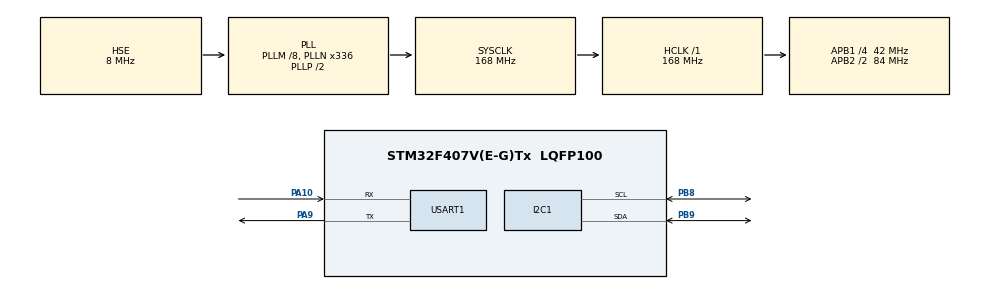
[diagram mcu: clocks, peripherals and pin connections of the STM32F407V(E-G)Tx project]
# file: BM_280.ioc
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Mcu.Family=STM32F4
Mcu.Name=STM32F407V(E-G)Tx
Mcu.Package=LQFP100
NVIC.PriorityGroup=NVIC_PRIORITYGROUP_0
PA10.Mode=Asynchronous
PA10.Signal=USART1_RX
PA9.Mode=Asynchronous
PA9.Signal=USART1_TX
PB8.Mode=I2C
PB8.Signal=I2C1_SCL
PB9.Mode=I2C
PB9.Signal=I2C1_SDA
PH0-OSC_IN.Mode=HSE-External-Oscillator
PH0-OSC_IN.Signal=RCC_OSC_IN
PH1-OSC_OUT.Mode=HSE-External-Oscillator
PH1-OSC_OUT.Signal=RCC_OSC_OUT
ProjectManager.HeapSize=0x200
ProjectManager.StackSize=0x400
ProjectManager.TargetToolchain=EWARM V8.32
RCC.48MHZClocksFreq_Value=48000000
RCC.AHBFreq_Value=168000000
RCC.APB1CLKDivider=RCC_HCLK_DIV4
RCC.APB1Freq_Value=42000000
RCC.APB1TimFreq_Value=84000000
RCC.APB2CLKDivider=RCC_HCLK_DIV2
RCC.APB2Freq_Value=84000000
RCC.APB2TimFreq_Value=168000000
RCC.CortexFreq_Value=168000000
RCC.HCLKFreq_Value=168000000
RCC.HSE_VALUE=8000000
RCC.HSI_VALUE=16000000
RCC.LSE_VALUE=32768
RCC.PLLM=8
RCC.PLLN=336
RCC.PLLQ=7
RCC.PLLSourceVirtual=RCC_PLLSOURCE_HSE
RCC.SYSCLKFreq_VALUE=168000000
RCC.SYSCLKSource=RCC_SYSCLKSOURCE_PLLCLK
RCC.VCOOutputFreq_Value=336000000
USART1.VirtualMode=VM_ASYNC
board=STM32F407G-DISC1

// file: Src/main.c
/* USER CODE BEGIN Header */
/**
  ******************************************************************************
  * @file           : main.c
  * @brief          : Main program body
  ******************************************************************************
  * @attention
  *
  * <h2><center>&copy; Copyright (c) 2020 STMicroelectronics.
  * All rights reserved.</center></h2>
  *
  * This software component is licensed by ST under BSD 3-Clause license,
  * the "License"; You may not use this file except in compliance with the
  * License. You may obtain a copy of the License at:
  *                        opensource.org/licenses/BSD-3-Clause
  *
  ******************************************************************************
  */
/* USER CODE END Header */

#include "main.h"

I2C_HandleTypeDef hi2c1;

UART_HandleTypeDef huart1;

/* USER CODE BEGIN PV */
uint8_t id,stare,val[6],adr_start=0xF7;
float temp;
/* USER CODE END PV */

void SystemClock_Config(void);
static void MX_GPIO_Init(void);
static void MX_I2C1_Init(void);
static void MX_USART1_UART_Init(void);
/* USER CODE BEGIN PFP */

uint8_t I2C_Read_Register(uint8_t device_adr,uint8_t internal_adr)
{
  uint8_t r;
  HAL_I2C_Master_Transmit(&hi2c1, device_adr,&internal_adr ,1, 10000);
  HAL_I2C_Master_Receive(&hi2c1, device_adr+1, &r, 1,10000);
  return r;
}
void I2C_Write_Register(uint8_t device_adr,uint8_t internal_adr, uint8_t data)
{
  uint8_t tx_buff[2]={internal_adr,data};
  HAL_I2C_Master_Transmit(&hi2c1, device_adr, tx_buff,2, 10000);
}

/* USER CODE END PFP */

int main(void)
{

  /* MCU Configuration--------------------------------------------------------*/

  /* Reset of all peripherals, Initializes the Flash interface and the Systick. */
  HAL_Init();

  /* Configure the system clock */
  SystemClock_Config();

  /* Initialize all configured peripherals */
  MX_GPIO_Init();
  MX_I2C1_Init();
  MX_USART1_UART_Init();
  /* USER CODE BEGIN 2 */
I2C_Write_Register(0xEE,0xF4,0x27);
I2C_Write_Register(0xEE,0xF5,0x90);
HAL_Delay(1000);
id=I2C_Read_Register(0xEE,0xD0);
  /* USER CODE END 2 */

  /* Infinite loop */
  /* USER CODE BEGIN WHILE */
  while (1)
  {
    do
    {
    stare=I2C_Read_Register(0xEE,0xF3);
    }while(((stare&8)==8)||((stare&1)==1));
    HAL_I2C_Master_Transmit(&hi2c1, 0xFF,&adr_start,1, 10000);
    HAL_I2C_Master_Receive(&hi2c1, 0xEE+1, &val[0],6,10000);
    temp=(256*val[3]+val[4])/273.0-42;
    HAL_Delay(500);
    /* USER CODE END WHILE */

  }
}

void SystemClock_Config(void)
{
  RCC_OscInitTypeDef RCC_OscInitStruct = {0};
  RCC_ClkInitTypeDef RCC_ClkInitStruct = {0};

  /** Configure the main internal regulator output voltage
  */
  __HAL_RCC_PWR_CLK_ENABLE();
  __HAL_PWR_VOLTAGESCALING_CONFIG(PWR_REGULATOR_VOLTAGE_SCALE1);
  /** Initializes the CPU, AHB and APB busses clocks
  */
  RCC_OscInitStruct.OscillatorType = RCC_OSCILLATORTYPE_HSE;
  RCC_OscInitStruct.HSEState = RCC_HSE_ON;
  RCC_OscInitStruct.PLL.PLLState = RCC_PLL_ON;
  RCC_OscInitStruct.PLL.PLLSource = RCC_PLLSOURCE_HSE;
  RCC_OscInitStruct.PLL.PLLM = 8;
  RCC_OscInitStruct.PLL.PLLN = 336;
  RCC_OscInitStruct.PLL.PLLP = RCC_PLLP_DIV2;
  RCC_OscInitStruct.PLL.PLLQ = 7;
  if (HAL_RCC_OscConfig(&RCC_OscInitStruct) != HAL_OK)
  {
    Error_Handler();
  }
  /** Initializes the CPU, AHB and APB busses clocks
  */
  RCC_ClkInitStruct.ClockType = RCC_CLOCKTYPE_HCLK|RCC_CLOCKTYPE_SYSCLK
                              |RCC_CLOCKTYPE_PCLK1|RCC_CLOCKTYPE_PCLK2;
  RCC_ClkInitStruct.SYSCLKSource = RCC_SYSCLKSOURCE_PLLCLK;
  RCC_ClkInitStruct.AHBCLKDivider = RCC_SYSCLK_DIV1;
  RCC_ClkInitStruct.APB1CLKDivider = RCC_HCLK_DIV4;
  RCC_ClkInitStruct.APB2CLKDivider = RCC_HCLK_DIV2;

  if (HAL_RCC_ClockConfig(&RCC_ClkInitStruct, FLASH_LATENCY_5) != HAL_OK)
  {
    Error_Handler();
  }
}

static void MX_I2C1_Init(void)
{

  hi2c1.Instance = I2C1;
  hi2c1.Init.ClockSpeed = 100000;
  hi2c1.Init.DutyCycle = I2C_DUTYCYCLE_2;
  hi2c1.Init.OwnAddress1 = 0;
  hi2c1.Init.AddressingMode = I2C_ADDRESSINGMODE_7BIT;
  hi2c1.Init.DualAddressMode = I2C_DUALADDRESS_DISABLE;
  hi2c1.Init.OwnAddress2 = 0;
  hi2c1.Init.GeneralCallMode = I2C_GENERALCALL_DISABLE;
  hi2c1.Init.NoStretchMode = I2C_NOSTRETCH_DISABLE;
  if (HAL_I2C_Init(&hi2c1) != HAL_OK)
  {
    Error_Handler();
  }

}

static void MX_USART1_UART_Init(void)
{

  huart1.Instance = USART1;
  huart1.Init.BaudRate = 115200;
  huart1.Init.WordLength = UART_WORDLENGTH_8B;
  huart1.Init.StopBits = UART_STOPBITS_1;
  huart1.Init.Parity = UART_PARITY_NONE;
  huart1.Init.Mode = UART_MODE_TX_RX;
  huart1.Init.HwFlowCtl = UART_HWCONTROL_NONE;
  huart1.Init.OverSampling = UART_OVERSAMPLING_16;
  if (HAL_UART_Init(&huart1) != HAL_OK)
  {
    Error_Handler();
  }

}

static void MX_GPIO_Init(void)
{

  /* GPIO Ports Clock Enable */
  __HAL_RCC_GPIOH_CLK_ENABLE();
  __HAL_RCC_GPIOA_CLK_ENABLE();
  __HAL_RCC_GPIOB_CLK_ENABLE();

}

void Error_Handler(void)
{
}

/************************ (C) COPYRIGHT STMicroelectronics *****END OF FILE****/
